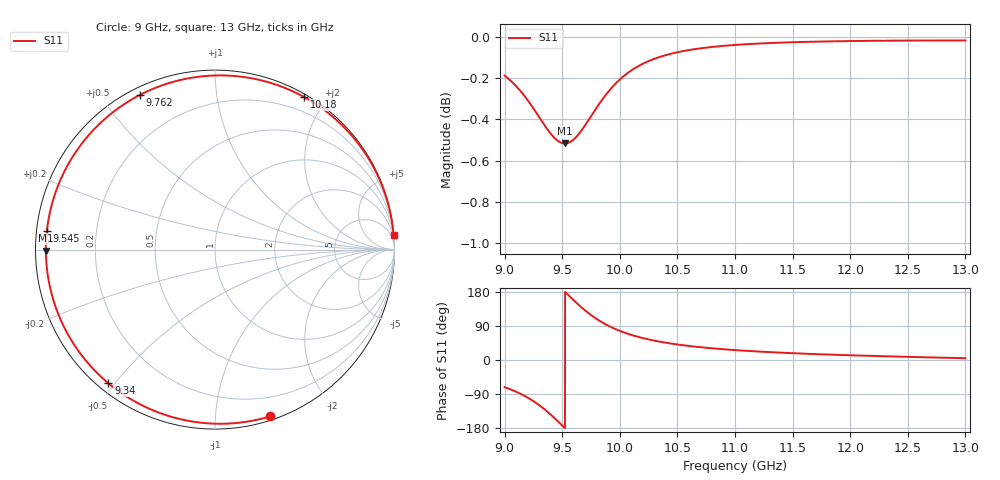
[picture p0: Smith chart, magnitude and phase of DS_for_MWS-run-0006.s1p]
! TOUCHSTONE file generated by CST DESIGN STUDIO
! Date and time: Tue Feb  4 16:39:56 2025
! Project name: C:\Work\MatlabApps\UnitCellOptimizationMatlab\CST\unitcell.cst
! Tree item: Tasks\Sweep1\SPara1\S-Parameters
! Header version: 2024
! Port assignment regex: !\s*Touchstone port\s*([0-9]+)\s*=\s*(CST MWS port|CST DES external port|CST DES block port)\s*(.+)\s* \(\"(.*)\"\)(\s*mode\s*([0-9]+))?.*
! Touchstone port assignment:
! Touchstone port 1 = CST DES external port 1 ("")
# GHz S MA R 50
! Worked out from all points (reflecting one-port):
!   4001 points, 9 GHz to 13 GHz, reference 50 ohm
!   lowest |S11| = -0.5 dB at 9.523 GHz (marker M1), VSWR 33.64, Z = 1.49 - j0.133 ohm
!   phase of S11 starts at -72 deg and turns -284 deg over the sweep
!   S11 on the Smith chart (normalised r, x): 9 GHz: 0.03, -1.38; 9.34 GHz: 0.03, -0.48; 9.545 GHz: 0.03, +0.05; 9.762 GHz: 0.03, +0.62; 10.18 GHz: 0.03, +1.74; 13 GHz: 1, +24
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9  0.9787 -71.7
9.094  0.9734 -83.0
9.199  0.9655 -99.1
9.273  0.9588 -113.3
9.34  0.9525 -128.5
9.384  0.9487 -139.7
9.429  0.9454 -152.1
9.5  0.9425 -172.8
9.523  0.9423 -179.7
9.545  0.9424 173.7
9.599  0.9443 157.8
9.659  0.9484 141.0
9.71  0.9529 128.0
9.762  0.9579 116.0
9.812  0.9625 105.7
9.866  0.9672 95.9
9.933  0.9723 85.6
10  0.9766 76.8
10.084  0.9809 67.7
10.175  0.9844 59.7
10.323  0.9885 49.7
10.5  0.9916 41.0
10.721  0.994 33.1
11  0.9957 26.2
11.5  0.9972 17.9
12  0.9978 12.4
12.5  0.9981 8.3
13  0.9982 4.7
